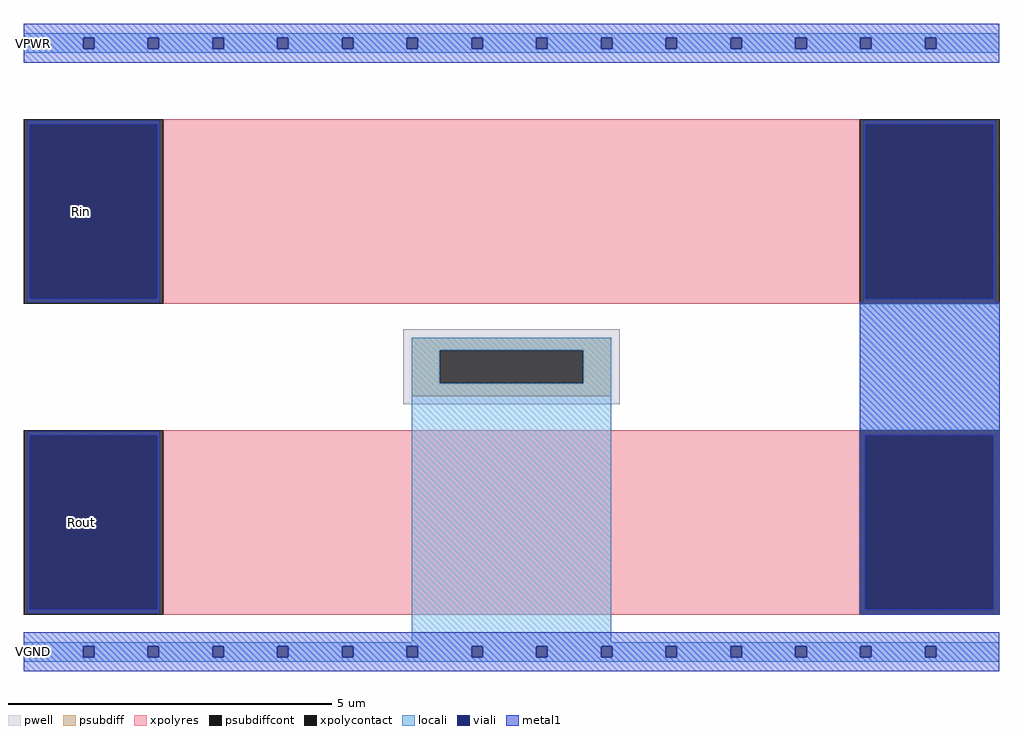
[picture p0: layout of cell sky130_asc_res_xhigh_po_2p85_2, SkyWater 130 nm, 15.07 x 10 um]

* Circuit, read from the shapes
.subckt sky130_asc_res_xhigh_po_2p85_2 Rin Rout VPWR VGND
XR1 n1 Rout VGND sky130_fd_pr__res_xhigh_po w=2.85 l=10.75
XR2 n1 Rin VGND sky130_fd_pr__res_xhigh_po w=2.85 l=10.75
.ends

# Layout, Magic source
magic
tech sky130A
magscale 1 2
<< pwell >>
rect 1314 764 1982 996
<< psubdiff >>
rect 1340 931 1956 970
rect 1340 829 1427 931
rect 1869 829 1956 931
rect 1340 790 1956 829
<< psubdiffcont >>
rect 1427 829 1869 931
<< xpolycontact >>
rect 141 1075 573 1645
rect 2723 1075 3155 1645
rect 141 115 573 685
rect 2723 115 3155 685
<< xpolyres >>
rect 573 1075 2723 1645
rect 573 115 2723 685
<< locali >>
rect 142 1897 3154 1910
rect 142 1863 325 1897
rect 359 1863 525 1897
rect 559 1863 725 1897
rect 759 1863 925 1897
rect 959 1863 1125 1897
rect 1159 1863 1325 1897
rect 1359 1863 1525 1897
rect 1559 1863 1725 1897
rect 1759 1863 1925 1897
rect 1959 1863 2125 1897
rect 2159 1863 2325 1897
rect 2359 1863 2525 1897
rect 2559 1863 2725 1897
rect 2759 1863 2925 1897
rect 2959 1863 3154 1897
rect 142 1850 3154 1863
rect 1340 931 1956 970
rect 1340 829 1427 931
rect 1869 829 1956 931
rect 1340 30 1956 829
rect 2723 685 3155 1075
rect 142 17 3154 30
rect 142 -17 325 17
rect 359 -17 525 17
rect 559 -17 725 17
rect 759 -17 925 17
rect 959 -17 1125 17
rect 1159 -17 1325 17
rect 1359 -17 1525 17
rect 1559 -17 1725 17
rect 1759 -17 1925 17
rect 1959 -17 2125 17
rect 2159 -17 2325 17
rect 2359 -17 2525 17
rect 2559 -17 2725 17
rect 2759 -17 2925 17
rect 2959 -17 3154 17
rect 142 -30 3154 -17
<< viali >>
rect 325 1863 359 1897
rect 525 1863 559 1897
rect 725 1863 759 1897
rect 925 1863 959 1897
rect 1125 1863 1159 1897
rect 1325 1863 1359 1897
rect 1525 1863 1559 1897
rect 1725 1863 1759 1897
rect 1925 1863 1959 1897
rect 2125 1863 2159 1897
rect 2325 1863 2359 1897
rect 2525 1863 2559 1897
rect 2725 1863 2759 1897
rect 2925 1863 2959 1897
rect 160 1091 554 1629
rect 2741 1091 3135 1629
rect 160 131 554 669
rect 2741 131 3135 669
rect 325 -17 359 17
rect 525 -17 559 17
rect 725 -17 759 17
rect 925 -17 959 17
rect 1125 -17 1159 17
rect 1325 -17 1359 17
rect 1525 -17 1559 17
rect 1725 -17 1759 17
rect 1925 -17 1959 17
rect 2125 -17 2159 17
rect 2325 -17 2359 17
rect 2525 -17 2559 17
rect 2725 -17 2759 17
rect 2925 -17 2959 17
<< metal1 >>
rect 142 1897 3154 1940
rect 142 1863 325 1897
rect 359 1863 525 1897
rect 559 1863 725 1897
rect 759 1863 925 1897
rect 959 1863 1125 1897
rect 1159 1863 1325 1897
rect 1359 1863 1525 1897
rect 1559 1863 1725 1897
rect 1759 1863 1925 1897
rect 1959 1863 2125 1897
rect 2159 1863 2325 1897
rect 2359 1863 2525 1897
rect 2559 1863 2725 1897
rect 2759 1863 2925 1897
rect 2959 1863 3154 1897
rect 142 1820 3154 1863
rect 152 1629 562 1641
rect 152 1091 160 1629
rect 554 1091 562 1629
rect 152 1079 562 1091
rect 2734 1629 3144 1641
rect 2734 1091 2741 1629
rect 3135 1091 3144 1629
rect 2734 1079 3144 1091
rect 152 669 562 681
rect 152 131 160 669
rect 554 131 562 669
rect 152 119 562 131
rect 2723 669 3155 1079
rect 2723 131 2741 669
rect 3135 131 3155 669
rect 2723 115 3155 131
rect 142 17 3154 60
rect 142 -17 325 17
rect 359 -17 525 17
rect 559 -17 725 17
rect 759 -17 925 17
rect 959 -17 1125 17
rect 1159 -17 1325 17
rect 1359 -17 1525 17
rect 1559 -17 1725 17
rect 1759 -17 1925 17
rect 1959 -17 2125 17
rect 2159 -17 2325 17
rect 2359 -17 2525 17
rect 2559 -17 2725 17
rect 2759 -17 2925 17
rect 2959 -17 3154 17
rect 142 -60 3154 -17
<< labels >>
flabel metal1 s 261 1300 381 1420 1 FreeSans 750 0 0 0 Rin
port 1 nsew
flabel metal1 s 261 340 381 460 1 FreeSans 750 0 0 0 Rout
port 2 nsew
flabel metal1 s 142 1850 202 1910 1 FreeSans 1250 0 0 0 VPWR
port 3 nsew
flabel metal1 s 142 -30 202 30 1 FreeSans 1250 0 0 0 VGND
port 4 nsew
<< properties >>
string FIXED_BBOX 0 0 3294 1880
<< end >>
